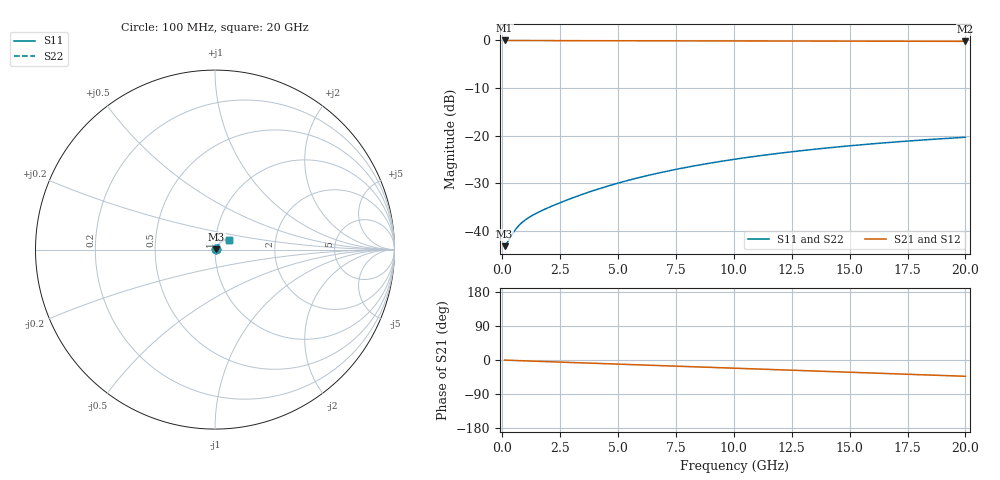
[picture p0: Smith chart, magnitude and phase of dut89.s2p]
! Touchstone file exported from HFSS 2026.1.0
!  File:  C:/ffzhzh/LocalFiles/Ansys_Project_Files/temp_train_BSMRDL_89_1782883215_13352.aedt
!  Generated:  01:21:24 PM Jul  1, 2026
!  Design:  BSMRDL
!  Project:  temp_train_BSMRDL_89_1782883215_13352
! Variables:
!  h_bsmrdl = 2.13um
!  h_ox = 20um
!  h_rdl = 5um
!  h_sub = 80um
!  h_tmrdl = 5um
!  h_tsv = 80um
!  h_via = 3um
!  l_bsmrdl = 761.52um
!  l_sub = 1161.52um
!  l_tmrdl = 200um
!  m_sub = 200um
!  pitch = 23.43um
!  r_tsv = 6um
!  s_tmrdl = 10um
!  w_bsmrdl = 19.16um
!  w_sub = 500um
!  w_tmrdl = 12um
!  x_tsv_center1 = 206um
!  x_tsv_center2 = 986.68um
!  x_tsv_center3 = 1198.68um
!  x_tsv_center4 = 1979.36um
!  x_tsv_center5 = 2191.36um
!  x_tsv_center6 = 2972.04um
# GHz S MA R 50.000000
! Terminal data exported
! Port[1] = BSM_RDL1_1_T1
! Port[2] = BSM_RDL1_1_T2
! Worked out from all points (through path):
!   200 points, 100 MHz to 20 GHz, reference 50 ohm
!   highest |S21| = -0.06 dB at 100 MHz (marker M1); lowest = -0.2 dB at 20 GHz (marker M2)
!   group delay of S21, straight-line fit = 5.95 ps
!   lowest |S11| = -43.1 dB at 100 MHz (marker M3), VSWR 1.01, Z = 50.7 + j0.123 ohm
!   |S11| at or under -10 dB: start of sweep to end of sweep
!   |S22| runs from -43.1 to -20.4 dB; largest |S21 - S12| = 4.5e-15
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0.1  0.00696 10.1  0.9932 -0.3  0.9932 -0.3  0.00696 10.1
! Gamma 0 0 0 0
! Port Impedance 50 0 50 0
0.2  0.007491 18.5  0.9929 -0.5  0.9929 -0.5  0.007492 18.5
0.4  0.009046 28.7  0.9921 -1.0  0.9921 -1.0  0.009046 28.7
0.5  0.009861 31.5  0.9917 -1.2  0.9917 -1.2  0.009861 31.5
0.6  0.01063 33.4  0.9912 -1.5  0.9912 -1.5  0.01063 33.3
0.8  0.012 35.7  0.9905 -1.9  0.9905 -1.9  0.01199 35.7
1.1  0.01366 38.1  0.9896 -2.6  0.9896 -2.6  0.01365 38.1
1.5  0.01552 41.0  0.9889 -3.4  0.9889 -3.4  0.0155 41.0
2  0.01767 44.4  0.9883 -4.5  0.9883 -4.5  0.01766 44.4
2.7  0.02076 48.4  0.9878 -6.0  0.9878 -6.0  0.02075 48.5
3.5  0.02449 51.6  0.9873 -7.7  0.9873 -7.7  0.02447 51.7
4.3  0.02837 53.6  0.9868 -9.4  0.9868 -9.4  0.02836 53.7
5.1  0.03235 54.6  0.9863 -11.2  0.9863 -11.2  0.03233 54.8
5.9  0.03636 55.0  0.9857 -12.9  0.9857 -12.9  0.03634 55.2
6.8  0.04087 54.9  0.985 -14.8  0.985 -14.8  0.04084 55.0
8.4  0.04879 53.7  0.9837 -18.3  0.9837 -18.3  0.04874 53.9
10.1  0.05693 51.5  0.9821 -22.0  0.9821 -22.0  0.05687 51.8
11.7  0.06428 49.1  0.9805 -25.4  0.9805 -25.4  0.0642 49.3
13.4  0.0717 46.2  0.9788 -29.0  0.9788 -29.0  0.07161 46.5
15  0.07829 43.3  0.9771 -32.4  0.9771 -32.4  0.07818 43.6
16.7  0.08485 40.1  0.9753 -36.0  0.9753 -36.0  0.08472 40.5
20  0.09622 33.7  0.972 -43.0  0.972 -43.0  0.09604 34.2
